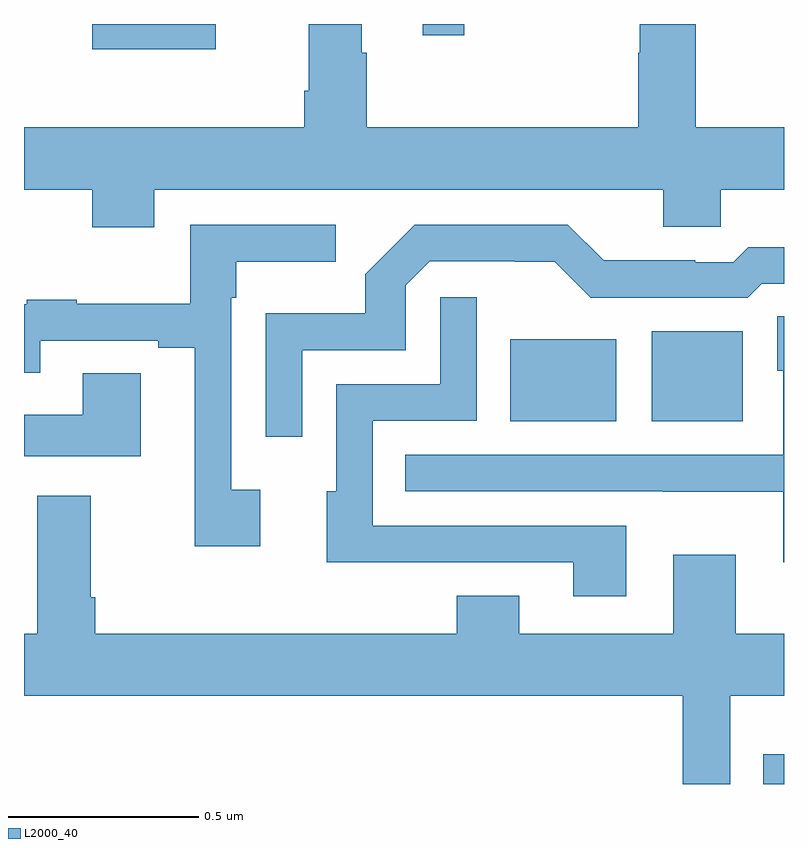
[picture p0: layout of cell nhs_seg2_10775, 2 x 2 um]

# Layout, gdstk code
import gdstk
lib = gdstk.Library(unit=1e-6, precision=1e-09)
def R(c, l, rs):  # rectangles x0, y0, x1, y1
    for r in rs: c.add(gdstk.rectangle(r[:2], r[2:], *l))
def P(c, l, *ps):  # polygons
    for p in ps: c.add(gdstk.Polygon(p, *l))
L2000_40 = (2000, 40)

nhs_seg2_10775 = lib.new_cell('nhs_seg2_10775')
R(nhs_seg2_10775, L2000_40, [(247.946,584.8,248,584.878), (247.28,585.755,247.558,585.97), (247.652,585.755,247.891,585.991), (246.18,586.733,246.504,586.8), (247.049,586.77,247.159,586.8)])
P(nhs_seg2_10775, L2000_40, [(246.343,586.364),(247.682,586.364),(247.682,586.266),(247.833,586.266),(247.833,586.364),(248,586.364),(248,586.528),(247.768,586.528),(247.768,586.8),(247.621,586.8),(247.621,586.724),(247.616,586.724),(247.616,586.528),(246.902,586.528),(246.902,586.724),(246.889,586.724),(246.889,586.8),(246.749,586.8),(246.749,586.624),(246.737,586.624),(246.737,586.528),(246,586.528),(246,586.364),(246.179,586.364),(246.179,586.265),(246.343,586.265)],
  [(246.622,585.574),(246.546,585.574),(246.546,586.079),(246.559,586.079),(246.559,586.175),(246.82,586.175),(246.82,586.272),(246.438,586.272),(246.438,586.064),(246.139,586.064),(246.139,586.075),(246.007,586.075),(246.007,586.062),(246,586.062),(246,585.882),(246.043,585.882),(246.043,585.966),(246.353,585.966),(246.353,585.948),(246.449,585.948),(246.449,585.426),(246.622,585.426)],
  [(246.732,585.942),(247.005,585.942),(247.005,586.113),(247.068,586.176),(247.292,586.176),(247.292,586.175),(247.397,586.175),(247.491,586.08),(247.905,586.08),(247.941,586.116),(248,586.116),(248,586.213),(247.906,586.213),(247.866,586.173),(247.766,586.173),(247.766,586.178),(247.526,586.178),(247.431,586.272),(247.028,586.272),(246.898,586.142),(246.898,586.039),(246.636,586.039),(246.636,585.714),(246.732,585.714)],
  [(247.585,585.48),(246.918,585.48),(246.918,585.756),(247.191,585.756),(247.191,586.081),(247.095,586.081),(247.095,585.852),(246.822,585.852),(246.822,585.57),(246.797,585.57),(246.797,585.383),(247.015,585.383),(247.015,585.384),(247.445,585.384),(247.445,585.294),(247.585,585.294)],
  [(248,586.031),(247.982,586.031),(247.982,585.888),(247.998,585.888),(247.998,585.666),(247.003,585.666),(247.003,585.57),(247.681,585.57),(247.681,585.569),(247.998,585.569),(247.998,585.384),(248,585.384)],
  [(246.307,585.881),(246.155,585.881),(246.155,585.772),(246,585.772),(246,585.662),(246.307,585.662)],
  [(247.858,585.032),(248,585.032),(248,585.196),(247.873,585.196),(247.873,585.403),(247.709,585.403),(247.709,585.196),(247.303,585.196),(247.303,585.295),(247.139,585.295),(247.139,585.196),(246.188,585.196),(246.188,585.292),(246.175,585.292),(246.175,585.559),(246.035,585.559),(246.035,585.196),(246,585.196),(246,585.032),(247.733,585.032),(247.733,584.8),(247.858,584.8)])

lib.write_gds('nhs_seg2_10775.gds')
